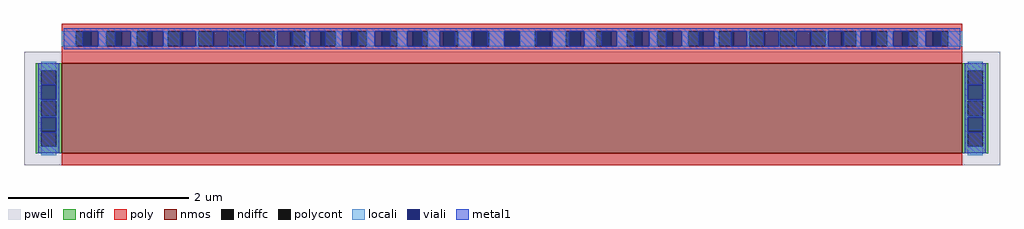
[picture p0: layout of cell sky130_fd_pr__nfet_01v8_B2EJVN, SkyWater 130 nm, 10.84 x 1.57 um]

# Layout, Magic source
magic
tech sky130A
magscale 1 2
<< pwell >>
rect -1084 -157 1084 95
<< nmos >>
rect -1000 -131 1000 69
<< ndiff >>
rect -1058 54 -1000 69
rect -1058 20 -1046 54
rect -1012 20 -1000 54
rect -1058 -14 -1000 20
rect -1058 -48 -1046 -14
rect -1012 -48 -1000 -14
rect -1058 -82 -1000 -48
rect -1058 -116 -1046 -82
rect -1012 -116 -1000 -82
rect -1058 -131 -1000 -116
rect 1000 54 1058 69
rect 1000 20 1012 54
rect 1046 20 1058 54
rect 1000 -14 1058 20
rect 1000 -48 1012 -14
rect 1046 -48 1058 -14
rect 1000 -82 1058 -48
rect 1000 -116 1012 -82
rect 1046 -116 1058 -82
rect 1000 -131 1058 -116
<< ndiffc >>
rect -1046 20 -1012 54
rect -1046 -48 -1012 -14
rect -1046 -116 -1012 -82
rect 1012 20 1046 54
rect 1012 -48 1046 -14
rect 1012 -116 1046 -82
<< poly >>
rect -1000 141 1000 157
rect -1000 107 -969 141
rect -935 107 -901 141
rect -867 107 -833 141
rect -799 107 -765 141
rect -731 107 -697 141
rect -663 107 -629 141
rect -595 107 -561 141
rect -527 107 -493 141
rect -459 107 -425 141
rect -391 107 -357 141
rect -323 107 -289 141
rect -255 107 -221 141
rect -187 107 -153 141
rect -119 107 -85 141
rect -51 107 -17 141
rect 17 107 51 141
rect 85 107 119 141
rect 153 107 187 141
rect 221 107 255 141
rect 289 107 323 141
rect 357 107 391 141
rect 425 107 459 141
rect 493 107 527 141
rect 561 107 595 141
rect 629 107 663 141
rect 697 107 731 141
rect 765 107 799 141
rect 833 107 867 141
rect 901 107 935 141
rect 969 107 1000 141
rect -1000 69 1000 107
rect -1000 -157 1000 -131
<< polycont >>
rect -969 107 -935 141
rect -901 107 -867 141
rect -833 107 -799 141
rect -765 107 -731 141
rect -697 107 -663 141
rect -629 107 -595 141
rect -561 107 -527 141
rect -493 107 -459 141
rect -425 107 -391 141
rect -357 107 -323 141
rect -289 107 -255 141
rect -221 107 -187 141
rect -153 107 -119 141
rect -85 107 -51 141
rect -17 107 17 141
rect 51 107 85 141
rect 119 107 153 141
rect 187 107 221 141
rect 255 107 289 141
rect 323 107 357 141
rect 391 107 425 141
rect 459 107 493 141
rect 527 107 561 141
rect 595 107 629 141
rect 663 107 697 141
rect 731 107 765 141
rect 799 107 833 141
rect 867 107 901 141
rect 935 107 969 141
<< locali >>
rect -1000 107 -969 141
rect -919 107 -901 141
rect -847 107 -833 141
rect -775 107 -765 141
rect -703 107 -697 141
rect -631 107 -629 141
rect -595 107 -593 141
rect -527 107 -521 141
rect -459 107 -449 141
rect -391 107 -377 141
rect -323 107 -305 141
rect -255 107 -233 141
rect -187 107 -161 141
rect -119 107 -89 141
rect -51 107 -17 141
rect 17 107 51 141
rect 89 107 119 141
rect 161 107 187 141
rect 233 107 255 141
rect 305 107 323 141
rect 377 107 391 141
rect 449 107 459 141
rect 521 107 527 141
rect 593 107 595 141
rect 629 107 631 141
rect 697 107 703 141
rect 765 107 775 141
rect 833 107 847 141
rect 901 107 919 141
rect 969 107 1000 141
rect -1046 54 -1012 73
rect -1046 -14 -1012 -12
rect -1046 -50 -1012 -48
rect -1046 -135 -1012 -116
rect 1012 54 1046 73
rect 1012 -14 1046 -12
rect 1012 -50 1046 -48
rect 1012 -135 1046 -116
<< viali >>
rect -953 107 -935 141
rect -935 107 -919 141
rect -881 107 -867 141
rect -867 107 -847 141
rect -809 107 -799 141
rect -799 107 -775 141
rect -737 107 -731 141
rect -731 107 -703 141
rect -665 107 -663 141
rect -663 107 -631 141
rect -593 107 -561 141
rect -561 107 -559 141
rect -521 107 -493 141
rect -493 107 -487 141
rect -449 107 -425 141
rect -425 107 -415 141
rect -377 107 -357 141
rect -357 107 -343 141
rect -305 107 -289 141
rect -289 107 -271 141
rect -233 107 -221 141
rect -221 107 -199 141
rect -161 107 -153 141
rect -153 107 -127 141
rect -89 107 -85 141
rect -85 107 -55 141
rect -17 107 17 141
rect 55 107 85 141
rect 85 107 89 141
rect 127 107 153 141
rect 153 107 161 141
rect 199 107 221 141
rect 221 107 233 141
rect 271 107 289 141
rect 289 107 305 141
rect 343 107 357 141
rect 357 107 377 141
rect 415 107 425 141
rect 425 107 449 141
rect 487 107 493 141
rect 493 107 521 141
rect 559 107 561 141
rect 561 107 593 141
rect 631 107 663 141
rect 663 107 665 141
rect 703 107 731 141
rect 731 107 737 141
rect 775 107 799 141
rect 799 107 809 141
rect 847 107 867 141
rect 867 107 881 141
rect 919 107 935 141
rect 935 107 953 141
rect -1046 20 -1012 22
rect -1046 -12 -1012 20
rect -1046 -82 -1012 -50
rect -1046 -84 -1012 -82
rect 1012 20 1046 22
rect 1012 -12 1046 20
rect 1012 -82 1046 -50
rect 1012 -84 1046 -82
<< metal1 >>
rect -996 141 996 147
rect -996 107 -953 141
rect -919 107 -881 141
rect -847 107 -809 141
rect -775 107 -737 141
rect -703 107 -665 141
rect -631 107 -593 141
rect -559 107 -521 141
rect -487 107 -449 141
rect -415 107 -377 141
rect -343 107 -305 141
rect -271 107 -233 141
rect -199 107 -161 141
rect -127 107 -89 141
rect -55 107 -17 141
rect 17 107 55 141
rect 89 107 127 141
rect 161 107 199 141
rect 233 107 271 141
rect 305 107 343 141
rect 377 107 415 141
rect 449 107 487 141
rect 521 107 559 141
rect 593 107 631 141
rect 665 107 703 141
rect 737 107 775 141
rect 809 107 847 141
rect 881 107 919 141
rect 953 107 996 141
rect -996 101 996 107
rect -1052 22 -1006 69
rect -1052 -12 -1046 22
rect -1012 -12 -1006 22
rect -1052 -50 -1006 -12
rect -1052 -84 -1046 -50
rect -1012 -84 -1006 -50
rect -1052 -131 -1006 -84
rect 1006 22 1052 69
rect 1006 -12 1012 22
rect 1046 -12 1052 22
rect 1006 -50 1052 -12
rect 1006 -84 1012 -50
rect 1046 -84 1052 -50
rect 1006 -131 1052 -84
<< end >>
